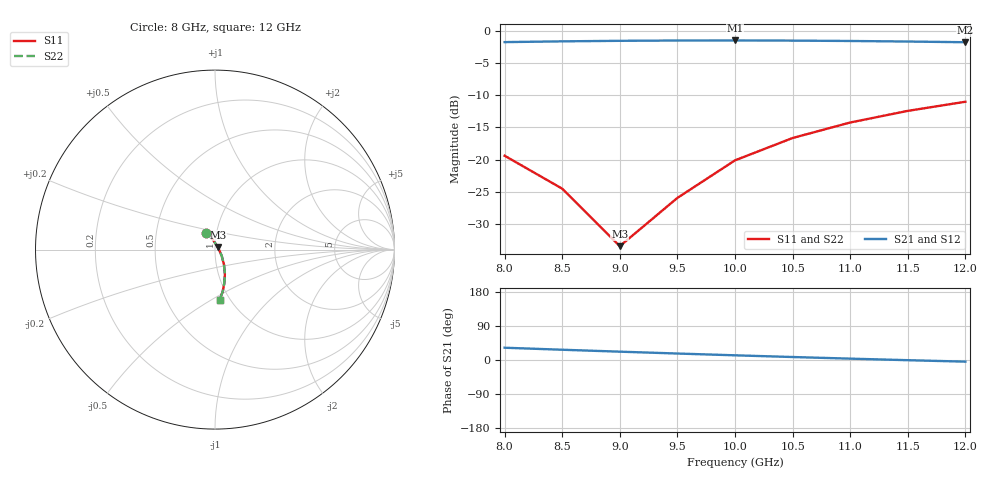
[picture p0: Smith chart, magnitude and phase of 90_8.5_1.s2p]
! Created Fri Oct 23 14:27:56 2020
# hz S ma R 50
! 2 Port Network Data from SP1.SP block
! freq  magS11  angS11  magS21  angS21  magS12  angS12  magS22  angS22
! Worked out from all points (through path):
!   9 points, 8 GHz to 12 GHz, reference 50 ohm
!   highest |S21| = -1.51 dB at 10 GHz (marker M1); lowest = -1.8 dB at 12 GHz (marker M2)
!   lowest |S11| = -33.5 dB at 9 GHz (marker M3), VSWR 1.04, Z = 51.6 + j1.47 ohm
!   |S11| at or under -10 dB: start of sweep to end of sweep
!   |S22| runs from -33.4 to -11.0 dB; largest |S21 - S12| = 0
8e9  0.1071 118.3  0.8164 32.4  0.8164 32.4  0.1071 118.3
8.5e9  0.05943 103.5  0.8276 27.1  0.8276 27.1  0.05943 103.5
9e9  0.02125 42.2  0.8355 22.0  0.8355 22.0  0.02128 42.2
9.5e9  0.05038 -42.4  0.84 17.1  0.84 17.1  0.0504 -42.4
1e10  0.09857 -59.4  0.8409 12.4  0.8409 12.4  0.09859 -59.4
1.05e10  0.147 -68.0  0.8385 7.9  0.8385 7.9  0.147 -68.0
1.1e10  0.1939 -74.4  0.8331 3.6  0.8331 3.6  0.1939 -74.4
1.15e10  0.2388 -79.8  0.8249 -0.5  0.8249 -0.5  0.2388 -79.8
1.2e10  0.2811 -84.5  0.8145 -4.4  0.8145 -4.4  0.2811 -84.5
